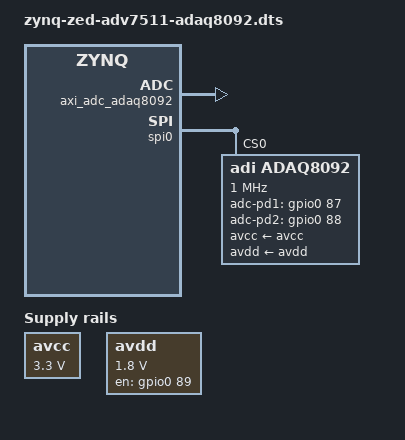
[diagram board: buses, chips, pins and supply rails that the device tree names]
// SPDX-License-Identifier: GPL-2.0
/*
 * Analog Devices ADAQ8092
 * https://wiki.analog.com/resources/tools-software/linux-drivers/iio-adc/adaq8092
 *
 * hdl_project: <adaq8092_fmc/zed>
 * board_revision: <>
 *
 * Copyright (C) 2022 Analog Devices Inc.
 */
/dts-v1/;

#include "zynq-zed.dtsi"
#include "zynq-zed-adv7511.dtsi"
#include <dt-bindings/gpio/gpio.h>

/ {
	clocks {
		adaq8092_clkin: clock@0 {
			#clock-cells = <0>;
			compatible = "fixed-clock";
			clock-frequency = <105000000>;
		};
	};

	avcc: regulator-avcc {
		compatible = "regulator-fixed";

		regulator-name = "avcc";
		regulator-min-microvolt = <3300000>;
		regulator-max-microvolt = <3300000>;
	};

	avdd: regulator-avdd {
		compatible = "regulator-fixed";

		regulator-name = "avdd";
		regulator-min-microvolt = <1800000>;
		regulator-max-microvolt = <1800000>;

		gpio = <&gpio0 89 GPIO_ACTIVE_HIGH>;
		enable-active-high;
	};
};

&fpga_axi {
	rx_dma: rx-dmac@44a30000 {
		compatible = "adi,axi-dmac-1.00.a";
		reg = <0x44a30000 0x10000>;
		#dma-cells = <1>;
		interrupts = <0 57 IRQ_TYPE_LEVEL_HIGH>;
		clocks = <&clkc 15>;

		adi,channels {
			#size-cells = <0>;
			#address-cells = <1>;

			dma-channel@0 {
				reg = <0>;
				adi,source-bus-width = <32>;
				adi,source-bus-type = <2>;
				adi,destination-bus-width = <64>;
				adi,destination-bus-type = <0>;
			};
		};
	};

	axi_adc_adaq8092: adaq8092@44a00000 {
		compatible = "adi,axi-adc-10.0.a";
		reg = <0x44a00000 0x10000>;
		dmas = <&rx_dma 0>;
		dma-names = "rx";
		spibus-connected = <&adaq8092>;
	};
};

&spi0 {
	status = "okay";

	adaq8092: adc@0 {
		compatible = "adi,adaq8092";
		reg = <0>;
		spi-max-frequency = <1000000>;

		adc-pd1-gpios = <&gpio0 87 GPIO_ACTIVE_HIGH>;
		adc-pd2-gpios = <&gpio0 88 GPIO_ACTIVE_HIGH>;

		avcc-supply = <&avcc>;
		avdd-supply = <&avdd>;

		clocks = <&adaq8092_clkin>;
		clock-names = "clkin";
	};
};
